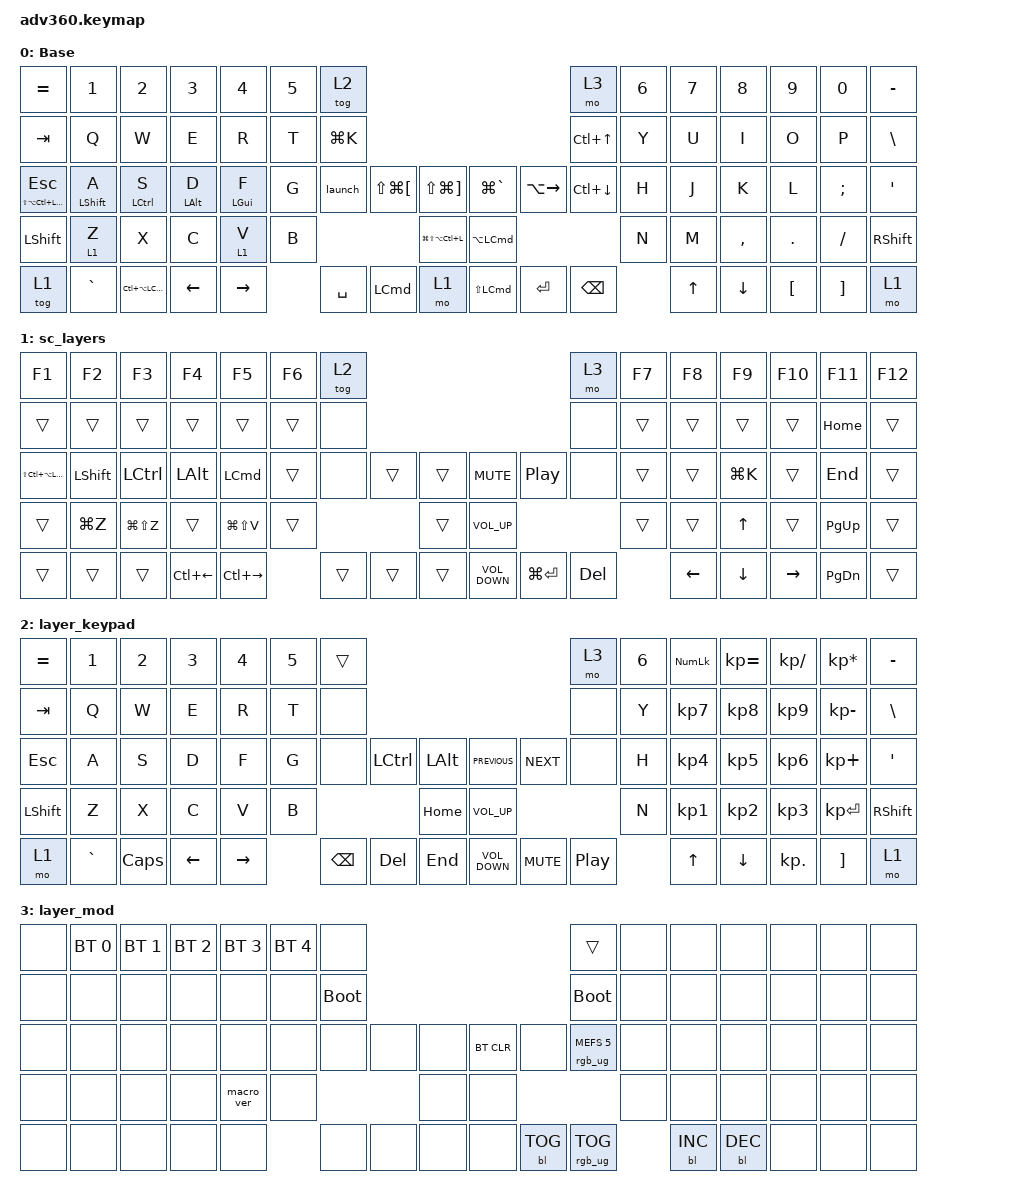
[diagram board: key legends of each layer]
/*
 * Copyright (c) 2020 The ZMK Contributors
 *
 * SPDX-License-Identifier: MIT
 */
/* THIS FILE WAS GENERATED!
 *
 * This file was generated automatically. You may or may not want to
 * edit it directly.
 */

#include <dt-bindings/zmk/stp.h>
#include <behaviors.dtsi>
#include <dt-bindings/zmk/backlight.h>
#include <dt-bindings/zmk/bt.h>
#include <dt-bindings/zmk/keys.h>
#include <dt-bindings/zmk/rgb.h>

/ {
    behaviors {
        #include "macros.dtsi"
      #include "version.dtsi"

        hm: homerow_mods {
            compatible = "zmk,behavior-hold-tap";
            label = "HOMEROW_MODS";
            #binding-cells = <2>;
            tapping-term-ms = <200>;
            quick_tap_ms = <175>;
            flavor = "tap-preferred";
            bindings = <&kp>, <&kp>;
        };

        hr2: hr2 {
            compatible = "zmk,behavior-hold-tap";
            label = "HR2";
            #binding-cells = <2>;
            tapping-term-ms = <200>;
            quick_tap_ms = <175>;
            flavor = "tap-preferred";
            bindings = <&mo>, <&kp>;
        };
    };

    macros {
        launch: launch {
            compatible = "zmk,behavior-macro";
            #binding-cells = <0>;
            bindings = <&kp LG(SPACE)>;
            label = "LAUNCH";
        };

        close_tab: close_tab {
            compatible = "zmk,behavior-macro";
            #binding-cells = <0>;
            bindings = <&none>;
            label = "CLOSE_TAB";
        };
    };

    keymap {
        compatible = "zmk,keymap";

        default_layer {
            display-name = "Base";
            bindings = <
&kp EQUAL                     &kp N1            &kp N2                    &kp N3          &kp N4          &kp N5  &tog 2                                                                                       &mo 3               &kp N6  &kp N7  &kp N8     &kp N9    &kp N0    &kp MINUS
&kp TAB                       &kp Q             &kp W                     &kp E           &kp R           &kp T   &kp LG(K)                                                                                    &kp LC(UP_ARROW)    &kp Y   &kp U   &kp I      &kp O     &kp P     &kp BSLH
&hm LS(LA(LC(LEFT_GUI))) ESC  &hm LEFT_SHIFT A  &hm LEFT_CONTROL S        &hm LEFT_ALT D  &hm LEFT_GUI F  &kp G   &launch    &kp LS(LG(LBKT))  &kp LS(LG(RBKT))           &kp LG(GRAVE)         &kp LA(RIGHT)  &kp LC(DOWN_ARROW)  &kp H   &kp J   &kp K      &kp L     &kp SEMI  &kp SQT
&kp LSHFT                     &hr2 1 Z          &kp X                     &kp C           &hr2 1 V        &kp B                                &kp LG(LS(LA(LC(L))))      &kp LA(LEFT_COMMAND)                                     &kp N   &kp M   &kp COMMA  &kp DOT   &kp FSLH  &kp RSHFT
&tog 1                        &kp GRAVE         &kp LC(LA(LEFT_COMMAND))  &kp LEFT        &kp RIGHT               &kp SPACE  &kp LEFT_COMMAND  &mo 1                      &kp LS(LEFT_COMMAND)  &kp ENTER      &kp BACKSPACE               &kp UP  &kp DOWN   &kp LBKT  &kp RBKT  &mo 1
            >;
        };

        sc_layers {
            bindings = <
&kp F1                    &kp F2          &kp F3         &kp F4              &kp F5               &kp F6  &tog 2                                                           &mo 3       &kp F7  &kp F8          &kp F9          &kp F10          &kp F11        &kp F12
&trans                    &trans          &trans         &trans              &trans               &trans  &none                                                            &none       &trans  &trans          &trans          &trans           &kp HOME       &trans
&kp LS(LC(LA(LEFT_GUI)))  &kp LEFT_SHIFT  &kp LCTRL      &kp LEFT_ALT        &kp LEFT_COMMAND     &trans  &none   &trans  &trans      &kp C_MUTE         &kp C_PLAY_PAUSE  &none       &trans  &trans          &kp LG(K)       &trans           &kp END        &trans
&trans                    &kp LG(Z)       &kp LG(LS(Z))  &trans              &kp LG(LS(V))        &trans                  &trans      &kp C_VOLUME_UP                                  &trans  &trans          &kp UP_ARROW    &trans           &kp PAGE_UP    &trans
&trans                    &trans          &trans         &kp LC(LEFT_ARROW)  &kp LC(RIGHT_ARROW)          &trans  &trans  &trans      &kp C_VOLUME_DOWN  &kp LG(ENTER)     &kp DELETE          &kp LEFT_ARROW  &kp DOWN_ARROW  &kp RIGHT_ARROW  &kp PAGE_DOWN  &trans
            >;
        };

        layer_keypad {
            bindings = <
&kp EQUAL  &kp N1     &kp N2    &kp N3    &kp N4     &kp N5  &trans                                                            &mo 3             &kp N6  &kp KP_NUM  &kp KP_EQUAL  &kp KP_DIVIDE  &kp KP_MULTIPLY  &kp MINUS
&kp TAB    &kp Q      &kp W     &kp E     &kp R      &kp T   &none                                                             &none             &kp Y   &kp KP_N7   &kp KP_N8     &kp KP_N9      &kp KP_MINUS     &kp BSLH
&kp ESC    &kp A      &kp S     &kp D     &kp F      &kp G   &none     &kp LCTRL  &kp LALT      &kp C_PREVIOUS     &kp C_NEXT  &none             &kp H   &kp KP_N4   &kp KP_N5     &kp KP_N6      &kp KP_PLUS      &kp SQT
&kp LSHFT  &kp Z      &kp X     &kp C     &kp V      &kp B                        &kp HOME      &kp C_VOLUME_UP                                  &kp N   &kp KP_N1   &kp KP_N2     &kp KP_N3      &kp KP_ENTER     &kp RSHFT
&mo 1      &kp GRAVE  &kp CAPS  &kp LEFT  &kp RIGHT          &kp BSPC  &kp DEL    &kp END       &kp C_VOLUME_DOWN  &kp C_MUTE  &kp C_PLAY_PAUSE          &kp UP      &kp DOWN      &kp KP_DOT     &kp RBKT         &mo 1
            >;
        };

        layer_mod {
            bindings = <
&none  &bt BT_SEL 0  &bt BT_SEL 1  &bt BT_SEL 2  &bt BT_SEL 3  &bt BT_SEL 4  &none                                                  &trans                  &none  &none       &none       &none  &none  &none
&none  &none         &none         &none         &none         &none         &bootloader                                            &bootloader             &none  &none       &none       &none  &none  &none
&none  &none         &none         &none         &none         &none         &none        &none  &none      &bt BT_CLR  &none       &rgb_ug RGB_MEFS_CMD 5  &none  &none       &none       &none  &none  &none
&none  &none         &none         &none         &macro_ver    &none                             &none      &none                                           &none  &none       &none       &none  &none  &none
&none  &none         &none         &none         &none                       &none        &none  &none      &none       &bl BL_TOG  &rgb_ug RGB_TOG                &bl BL_INC  &bl BL_DEC  &none  &none  &none
            >;
        };
    };
};
